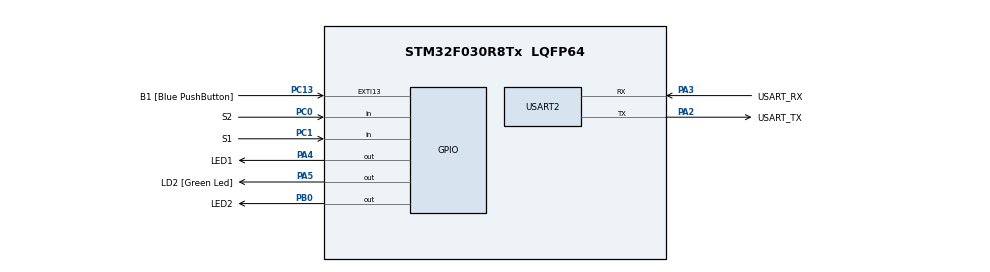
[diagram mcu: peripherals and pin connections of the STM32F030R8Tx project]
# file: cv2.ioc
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Mcu.Family=STM32F0
Mcu.Name=STM32F030R8Tx
Mcu.Package=LQFP64
PA13.GPIO_Label=TMS
PA13.Mode=Serial_Wire
PA13.Signal=SYS_SWDIO
PA14.GPIO_Label=TCK
PA14.Mode=Serial_Wire
PA14.Signal=SYS_SWCLK
PA2.GPIO_Label=USART_TX
PA2.GPIO_Mode=GPIO_MODE_AF_PP
PA2.GPIO_PuPd=GPIO_NOPULL
PA2.GPIO_Speed=GPIO_SPEED_FREQ_LOW
PA2.Mode=Asynchronous
PA2.Signal=USART2_TX
PA3.GPIO_Label=USART_RX
PA3.GPIO_Mode=GPIO_MODE_AF_PP
PA3.GPIO_PuPd=GPIO_NOPULL
PA3.GPIO_Speed=GPIO_SPEED_FREQ_LOW
PA3.Mode=Asynchronous
PA3.Signal=USART2_RX
PA4.GPIO_Label=LED1
PA4.GPIO_PuPd=GPIO_NOPULL
PA4.Signal=GPIO_Output
PA5.GPIO_Label=LD2 [Green Led]
PA5.GPIO_Mode=GPIO_MODE_OUTPUT_PP
PA5.GPIO_PuPd=GPIO_NOPULL
PA5.GPIO_Speed=GPIO_SPEED_FREQ_LOW
PA5.Signal=GPIO_Output
PB0.GPIO_Label=LED2
PB0.Signal=GPIO_Output
PC0.GPIO_Label=S2
PC0.GPIO_PuPd=GPIO_PULLUP
PC0.Signal=GPIO_Input
PC1.GPIO_Label=S1
PC1.GPIO_PuPd=GPIO_PULLUP
PC1.Signal=GPIO_Input
PC13.GPIO_Label=B1 [Blue PushButton]
PC13.GPIO_ModeDefaultEXTI=GPIO_MODE_IT_FALLING
PC13.Signal=GPXTI13
PC14-OSC32_IN.Mode=LSE-External-Oscillator
PC14-OSC32_IN.Signal=RCC_OSC32_IN
PC15-OSC32_OUT.Mode=LSE-External-Oscillator
PC15-OSC32_OUT.Signal=RCC_OSC32_OUT
PF0-OSC_IN.Mode=HSE-External-Clock-Source
PF0-OSC_IN.Signal=RCC_OSC_IN
PF1-OSC_OUT.Signal=RCC_OSC_OUT
ProjectManager.HeapSize=0x200
ProjectManager.StackSize=0x400
ProjectManager.TargetToolchain=STM32CubeIDE
RCC.AHBFreq_Value=48000000
RCC.APB1Freq_Value=48000000
RCC.APB1TimFreq_Value=48000000
RCC.HCLKFreq_Value=48000000
RCC.PLLMUL=RCC_PLL_MUL12
RCC.SYSCLKFreq_VALUE=48000000
RCC.SYSCLKSource=RCC_SYSCLKSOURCE_PLLCLK
USART2.VirtualMode-Asynchronous=VM_ASYNC
board=NUCLEO-F030R8

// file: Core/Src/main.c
/* USER CODE BEGIN Header */
/**
  ******************************************************************************
  * @file           : main.c
  * @brief          : Main program body
  ******************************************************************************
  * @attention
  *
  * Copyright (c) 2024 STMicroelectronics.
  * All rights reserved.
  *
  * This software is licensed under terms that can be found in the LICENSE file
  * in the root directory of this software component.
  * If no LICENSE file comes with this software, it is provided AS-IS.
  *
  ******************************************************************************
  */
/* USER CODE END Header */
#include "main.h"

/* USER CODE BEGIN PD */
#define LED_TIME_BLINK 300
#define LED_TIME_SHORT 100
#define LED_TIME_LONG 1000
/* USER CODE END PD */

/* USER CODE BEGIN PV */
extern volatile uint32_t tick;
/* USER CODE END PV */

void SystemClock_Config(void);
static void MX_GPIO_Init(void);
static void MX_USART2_UART_Init(void);
/* USER CODE BEGIN PFP */
static void blink();
static void button();
/* USER CODE END PFP */

int main(void)
{

  /* MCU Configuration--------------------------------------------------------*/

  /* Reset of all peripherals, Initializes the Flash interface and the Systick. */
  LL_APB1_GRP2_EnableClock(LL_APB1_GRP2_PERIPH_SYSCFG);
  LL_APB1_GRP1_EnableClock(LL_APB1_GRP1_PERIPH_PWR);

  /* Configure the system clock */
  SystemClock_Config();

  /* Initialize all configured peripherals */
  MX_GPIO_Init();
  MX_USART2_UART_Init();
  /* USER CODE BEGIN 2 */
  LL_SYSTICK_EnableIT();
  /* USER CODE END 2 */

  /* Infinite loop */
  /* USER CODE BEGIN WHILE */
  while (1)
  {
	  blink();
	  button();
    /* USER CODE END WHILE */

  }
}

void SystemClock_Config(void)
{
  LL_FLASH_SetLatency(LL_FLASH_LATENCY_1);
  while(LL_FLASH_GetLatency() != LL_FLASH_LATENCY_1)
  {
  }
  LL_RCC_HSI_Enable();

   /* Wait till HSI is ready */
  while(LL_RCC_HSI_IsReady() != 1)
  {

  }
  LL_RCC_HSI_SetCalibTrimming(16);
  LL_RCC_PLL_ConfigDomain_SYS(LL_RCC_PLLSOURCE_HSI_DIV_2, LL_RCC_PLL_MUL_12);
  LL_RCC_PLL_Enable();

   /* Wait till PLL is ready */
  while(LL_RCC_PLL_IsReady() != 1)
  {

  }
  LL_RCC_SetAHBPrescaler(LL_RCC_SYSCLK_DIV_1);
  LL_RCC_SetAPB1Prescaler(LL_RCC_APB1_DIV_1);
  LL_RCC_SetSysClkSource(LL_RCC_SYS_CLKSOURCE_PLL);

   /* Wait till System clock is ready */
  while(LL_RCC_GetSysClkSource() != LL_RCC_SYS_CLKSOURCE_STATUS_PLL)
  {

  }
  LL_Init1msTick(48000000);
  LL_SetSystemCoreClock(48000000);
}

static void MX_USART2_UART_Init(void)
{

  LL_USART_InitTypeDef USART_InitStruct = {0};

  LL_GPIO_InitTypeDef GPIO_InitStruct = {0};

  /* Peripheral clock enable */
  LL_APB1_GRP1_EnableClock(LL_APB1_GRP1_PERIPH_USART2);

  LL_AHB1_GRP1_EnableClock(LL_AHB1_GRP1_PERIPH_GPIOA);
  /**USART2 GPIO Configuration
  PA2   ------> USART2_TX
  PA3   ------> USART2_RX
  */
  GPIO_InitStruct.Pin = USART_TX_Pin;
  GPIO_InitStruct.Mode = LL_GPIO_MODE_ALTERNATE;
  GPIO_InitStruct.Speed = LL_GPIO_SPEED_FREQ_LOW;
  GPIO_InitStruct.OutputType = LL_GPIO_OUTPUT_PUSHPULL;
  GPIO_InitStruct.Pull = LL_GPIO_PULL_NO;
  GPIO_InitStruct.Alternate = LL_GPIO_AF_1;
  LL_GPIO_Init(USART_TX_GPIO_Port, &GPIO_InitStruct);

  GPIO_InitStruct.Pin = USART_RX_Pin;
  GPIO_InitStruct.Mode = LL_GPIO_MODE_ALTERNATE;
  GPIO_InitStruct.Speed = LL_GPIO_SPEED_FREQ_LOW;
  GPIO_InitStruct.OutputType = LL_GPIO_OUTPUT_PUSHPULL;
  GPIO_InitStruct.Pull = LL_GPIO_PULL_NO;
  GPIO_InitStruct.Alternate = LL_GPIO_AF_1;
  LL_GPIO_Init(USART_RX_GPIO_Port, &GPIO_InitStruct);

  USART_InitStruct.BaudRate = 38400;
  USART_InitStruct.DataWidth = LL_USART_DATAWIDTH_8B;
  USART_InitStruct.StopBits = LL_USART_STOPBITS_1;
  USART_InitStruct.Parity = LL_USART_PARITY_NONE;
  USART_InitStruct.TransferDirection = LL_USART_DIRECTION_TX_RX;
  USART_InitStruct.HardwareFlowControl = LL_USART_HWCONTROL_NONE;
  USART_InitStruct.OverSampling = LL_USART_OVERSAMPLING_16;
  LL_USART_Init(USART2, &USART_InitStruct);
  LL_USART_DisableIT_CTS(USART2);
  LL_USART_ConfigAsyncMode(USART2);
  LL_USART_Enable(USART2);

}

static void MX_GPIO_Init(void)
{
  LL_EXTI_InitTypeDef EXTI_InitStruct = {0};
  LL_GPIO_InitTypeDef GPIO_InitStruct = {0};

  /* GPIO Ports Clock Enable */
  LL_AHB1_GRP1_EnableClock(LL_AHB1_GRP1_PERIPH_GPIOC);
  LL_AHB1_GRP1_EnableClock(LL_AHB1_GRP1_PERIPH_GPIOF);
  LL_AHB1_GRP1_EnableClock(LL_AHB1_GRP1_PERIPH_GPIOA);
  LL_AHB1_GRP1_EnableClock(LL_AHB1_GRP1_PERIPH_GPIOB);

  /**/
  LL_GPIO_ResetOutputPin(LED1_GPIO_Port, LED1_Pin);

  /**/
  LL_GPIO_ResetOutputPin(LD2_GPIO_Port, LD2_Pin);

  /**/
  LL_GPIO_ResetOutputPin(LED2_GPIO_Port, LED2_Pin);

  /**/
  LL_SYSCFG_SetEXTISource(LL_SYSCFG_EXTI_PORTC, LL_SYSCFG_EXTI_LINE13);

  /**/
  LL_GPIO_SetPinPull(B1_GPIO_Port, B1_Pin, LL_GPIO_PULL_NO);

  /**/
  LL_GPIO_SetPinMode(B1_GPIO_Port, B1_Pin, LL_GPIO_MODE_INPUT);

  /**/
  EXTI_InitStruct.Line_0_31 = LL_EXTI_LINE_13;
  EXTI_InitStruct.LineCommand = ENABLE;
  EXTI_InitStruct.Mode = LL_EXTI_MODE_IT;
  EXTI_InitStruct.Trigger = LL_EXTI_TRIGGER_FALLING;
  LL_EXTI_Init(&EXTI_InitStruct);

  /**/
  GPIO_InitStruct.Pin = S2_Pin;
  GPIO_InitStruct.Mode = LL_GPIO_MODE_INPUT;
  GPIO_InitStruct.Pull = LL_GPIO_PULL_UP;
  LL_GPIO_Init(S2_GPIO_Port, &GPIO_InitStruct);

  /**/
  GPIO_InitStruct.Pin = S1_Pin;
  GPIO_InitStruct.Mode = LL_GPIO_MODE_INPUT;
  GPIO_InitStruct.Pull = LL_GPIO_PULL_UP;
  LL_GPIO_Init(S1_GPIO_Port, &GPIO_InitStruct);

  /**/
  GPIO_InitStruct.Pin = LED1_Pin;
  GPIO_InitStruct.Mode = LL_GPIO_MODE_OUTPUT;
  GPIO_InitStruct.Speed = LL_GPIO_SPEED_FREQ_LOW;
  GPIO_InitStruct.OutputType = LL_GPIO_OUTPUT_PUSHPULL;
  GPIO_InitStruct.Pull = LL_GPIO_PULL_NO;
  LL_GPIO_Init(LED1_GPIO_Port, &GPIO_InitStruct);

  /**/
  GPIO_InitStruct.Pin = LD2_Pin;
  GPIO_InitStruct.Mode = LL_GPIO_MODE_OUTPUT;
  GPIO_InitStruct.Speed = LL_GPIO_SPEED_FREQ_LOW;
  GPIO_InitStruct.OutputType = LL_GPIO_OUTPUT_PUSHPULL;
  GPIO_InitStruct.Pull = LL_GPIO_PULL_NO;
  LL_GPIO_Init(LD2_GPIO_Port, &GPIO_InitStruct);

  /**/
  GPIO_InitStruct.Pin = LED2_Pin;
  GPIO_InitStruct.Mode = LL_GPIO_MODE_OUTPUT;
  GPIO_InitStruct.Speed = LL_GPIO_SPEED_FREQ_LOW;
  GPIO_InitStruct.OutputType = LL_GPIO_OUTPUT_PUSHPULL;
  GPIO_InitStruct.Pull = LL_GPIO_PULL_NO;
  LL_GPIO_Init(LED2_GPIO_Port, &GPIO_InitStruct);

}

/* USER CODE BEGIN 4 */
static void blink(){
	static uint32_t prevTick;
	if (tick > prevTick + LED_TIME_BLINK) {
		LL_GPIO_TogglePin(LED1_GPIO_Port, LED1_Pin);
		prevTick = tick;
	}
}

static void button(){
	//static uint32_t prevStatusS1;
	static uint32_t prevStatusS2;
	static uint32_t offTime;
	static uint32_t prevTick;
	static uint32_t prevTick2;

	//Debounce
	static uint16_t debounce = 0xFFFF;
	if (tick > prevTick + 5) {
		debounce <<= 1;
		if(!LL_GPIO_IsInputPinSet(S1_GPIO_Port, S1_Pin)){
			debounce |= 0x0001;
		}
		prevTick = tick;
	}
	//Handles button S1
	if (debounce == 0x7FFF) {
		offTime = tick + LED_TIME_SHORT;
		LL_GPIO_SetOutputPin(LED2_GPIO_Port, LED2_Pin);
	}

	//uint32_t currentStatusS1 = LL_GPIO_IsInputPinSet(S1_GPIO_Port, S1_Pin);
	if (tick > prevTick2 + 40){
		uint32_t currentStatusS2 = LL_GPIO_IsInputPinSet(S2_GPIO_Port, S2_Pin);

		//Handles button S2
		if (prevStatusS2 && !currentStatusS2) {
			offTime = tick + LED_TIME_LONG;
			LL_GPIO_SetOutputPin(LED2_GPIO_Port, LED2_Pin);
		}
		//prevStatusS1 = currentStatusS1;
		prevTick2 = tick;
		prevStatusS2 = currentStatusS2;
	}

	if (tick > offTime) {
		LL_GPIO_ResetOutputPin(LED2_GPIO_Port, LED2_Pin);
	}
}

/* USER CODE END 4 */

void Error_Handler(void)
{
  __disable_irq();
  while (1)
  {
  }
}
